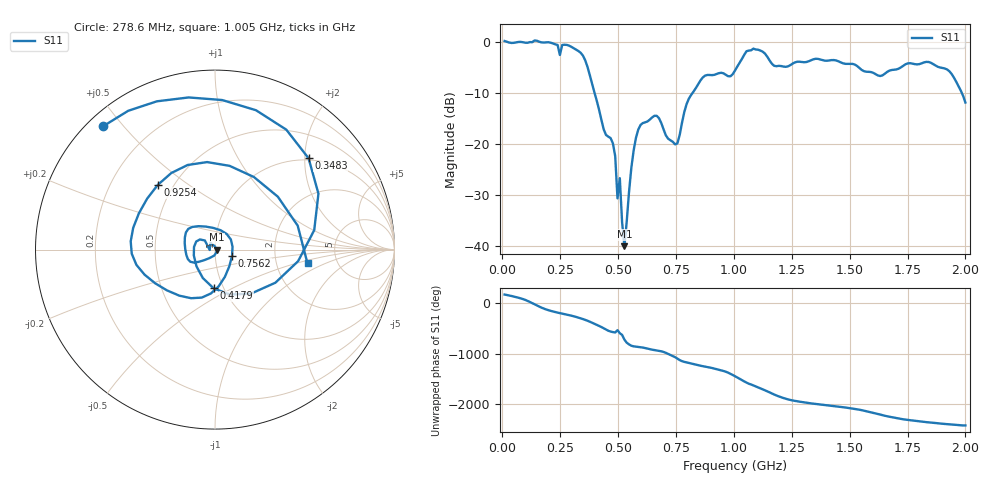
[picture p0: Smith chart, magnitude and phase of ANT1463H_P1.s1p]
!Created with skrf (http://scikit-rf.org).
# Hz S RI R 50.0
!freq ReS11 ImS11
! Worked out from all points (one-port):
!   201 points, 10 MHz to 2 GHz, reference 50 ohm
!   lowest |S11| = -40.0 dB at 527.4 MHz (marker M1), VSWR 1.02, Z = 51 - j0.0509 ohm
!   |S11| at or under -10 dB: 398.2 MHz to 822.3 MHz (424.1 MHz wide, 69.5 % of centre); 1.984 GHz to end of sweep
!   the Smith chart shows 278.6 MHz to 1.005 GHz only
!   S11 on the Smith chart (normalised r, x): 278.6 MHz: 0.05, +0.44; 348.3 MHz: 0.96, +2.08; 417.9 MHz: 0.90, -0.41; 756.2 MHz: 1.21, -0.09; 925.4 MHz: 0.41, +0.39; 1.005 GHz: 3.02, -0.64
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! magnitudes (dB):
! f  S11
! 10 MHz  0.1
! 209 MHz  -0.2
! 248.8 MHz  -2.6
! 258.8 MHz  -0.7
! 278.6 MHz  -0.7
! 348.3 MHz  -2.8
! 417.9 MHz  -13.3
! 477.6 MHz  -19.9
! 487.6 MHz  -22.4
! 497.6 MHz  -30.6
! 507.5 MHz  -26.7
! 517.5 MHz  -35.3
! 527.4 MHz  -40.0
! 567.2 MHz  -21.3
! 597 MHz  -16.3
! 666.7 MHz  -14.5
! 756.2 MHz  -19.9
! 806 MHz  -11.1
! 925.4 MHz  -6.4
! 1.005 GHz  -5.7
! 1.085 GHz  -1.4
! 1.174 GHz  -4.7
! 1.254 GHz  -4.3
! 1.502 GHz  -4.3
! 1.632 GHz  -6.7
! 1.751 GHz  -4.3
! 1.92 GHz  -5.4
! 2 GHz  -11.9
